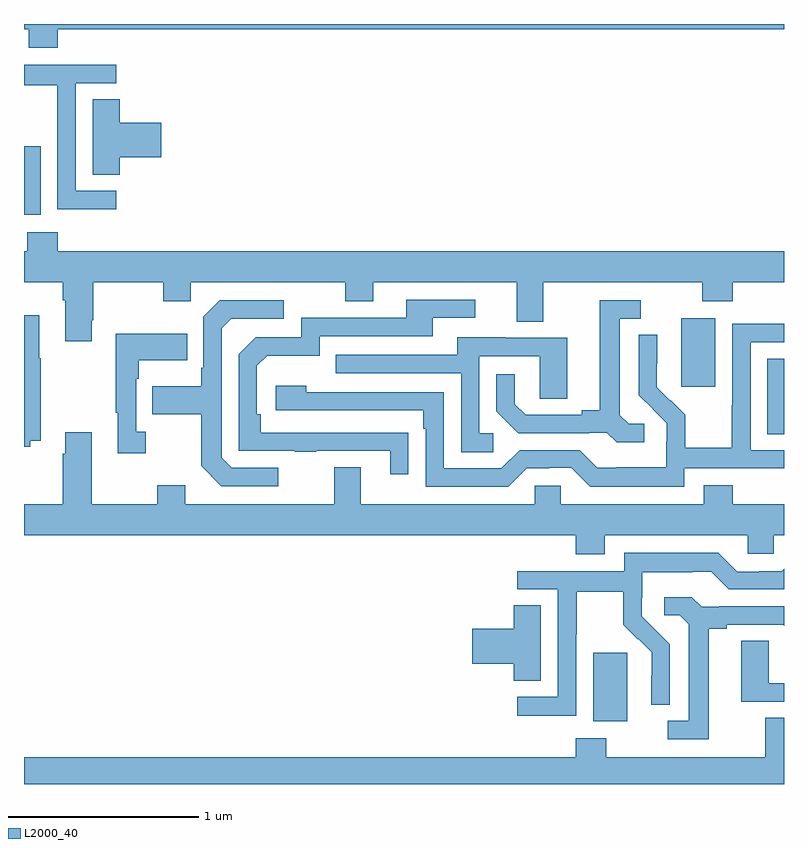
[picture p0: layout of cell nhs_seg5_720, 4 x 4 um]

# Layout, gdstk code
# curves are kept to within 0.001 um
import gdstk
lib = gdstk.Library(unit=1e-6, precision=1e-09)
def R(c, l, rs):  # rectangles x0, y0, x1, y1
    for r in rs: c.add(gdstk.rectangle(r[:2], r[2:], *l))
def P(c, l, *ps):  # polygons
    for p in ps: c.add(gdstk.Polygon(p, *l))
L2000_40 = (2000, 40)

nhs_seg5_720 = lib.new_cell('nhs_seg5_720')
R(nhs_seg5_720, L2000_40, [(159.995,841.13,160.174,841.491), (160.913,842.641,161,843.038), (160.46,842.889,160.639,843.25), (157,843.794,157.087,844.155)])
P(nhs_seg5_720, L2000_40, [(157.178,844.772),(161,844.772),(161,844.799),(157,844.799),(157,844.772),(157.025,844.772),(157.025,844.673),(157.178,844.673)],
  [(157.486,843.921),(157.272,843.921),(157.272,844.488),(157.486,844.488),(157.486,844.584),(157,844.584),(157,844.476),(157.174,844.476),(157.174,844.252),(157.176,844.252),(157.176,843.823),(157.486,843.823)],
  [(157.505,844.097),(157.723,844.097),(157.723,844.28),(157.505,844.28),(157.505,844.403),(157.361,844.403),(157.361,844.006),(157.505,844.006)],
  [(157.357,843.241),(157.365,843.241),(157.365,843.44),(157.732,843.44),(157.732,843.341),(157.878,843.341),(157.878,843.44),(158.692,843.44),(158.692,843.341),(158.839,843.341),(158.839,843.44),(159.593,843.44),(159.593,843.232),(159.733,843.232),(159.733,843.44),(160.57,843.44),(160.57,843.341),(160.73,843.341),(160.73,843.44),(161,843.44),(161,843.604),(157.178,843.604),(157.178,843.703),(157.018,843.703),(157.018,843.604),(157,843.604),(157,843.44),(157.205,843.44),(157.205,843.344),(157.217,843.344),(157.217,843.129),(157.357,843.129)],
  [(159.023,842.648),(158.246,842.649),(158.246,842.746),(158.226,842.746),(158.226,843),(158.279,843.053),(158.556,843.053),(158.556,843.156),(159.151,843.156),(159.151,843.252),(159.376,843.252),(159.376,843.348),(159.011,843.348),(159.011,843.252),(158.46,843.252),(158.46,843.15),(158.22,843.15),(158.13,843.06),(158.13,842.553),(158.425,842.553),(158.425,842.548),(158.537,842.548),(158.537,842.553),(158.927,842.553),(158.927,842.43),(159.023,842.43)],
  [(160.264,842.694),(160.182,842.694),(160.135,842.741),(160.135,843.249),(160.246,843.249),(160.246,843.345),(160.031,843.345),(160.031,842.765),(159.935,842.765),(159.935,842.742),(159.64,842.742),(159.583,842.799),(159.583,842.956),(159.486,842.956),(159.486,842.762),(159.602,842.646),(159.974,842.646),(159.974,842.649),(160.068,842.649),(160.12,842.597),(160.264,842.597)],
  [(158.338,842.463),(158.094,842.463),(158.04,842.517),(158.04,843.198),(158.091,843.249),(158.368,843.249),(158.368,843.345),(158.031,843.345),(157.944,843.258),(157.944,842.989),(157.932,842.989),(157.932,842.893),(157.675,842.893),(157.675,842.746),(157.932,842.746),(157.932,842.473),(158.037,842.367),(158.338,842.367)],
  [(157.032,842.606),(157.089,842.606),(157.089,843.041),(157.081,843.041),(157.081,843.265),(157,843.265),(157,842.574),(157.032,842.574)],
  [(160.476,842.46),(161,842.46),(161,842.556),(160.824,842.556),(160.824,843.123),(161,843.123),(161,843.222),(160.728,843.222),(160.728,842.792),(160.726,842.792),(160.726,842.569),(160.481,842.569),(160.481,842.743),(160.404,842.82),(160.401,842.817),(160.331,842.888),(160.332,843.164),(160.236,843.164),(160.236,842.846),(160.382,842.698),(160.382,842.601),(160.38,842.601),(160.38,842.467),(160.117,842.467),(160.117,842.463),(160.017,842.463),(159.924,842.556),(159.609,842.556),(159.513,842.46),(159.21,842.46),(159.21,842.862),(158.486,842.862),(158.486,842.896),(158.325,842.896),(158.325,842.766),(159.101,842.766),(159.101,842.669),(159.114,842.669),(159.114,842.364),(159.549,842.364),(159.645,842.46),(159.764,842.46),(159.764,842.463),(159.879,842.463),(159.979,842.363),(160.476,842.363)],
  [(157.642,842.654),(157.59,842.654),(157.59,842.933),(157.603,842.933),(157.603,843.029),(157.859,843.029),(157.859,843.169),(157.482,843.169),(157.482,842.753),(157.493,842.753),(157.493,842.541),(157.642,842.541)],
  [(159.469,842.646),(159.396,842.646),(159.396,843.051),(159.714,843.051),(159.714,842.827),(159.859,842.827),(159.859,843.147),(159.535,843.147),(159.535,843.151),(159.281,843.151),(159.281,843.057),(158.641,843.057),(158.641,842.961),(159.3,842.961),(159.3,842.545),(159.469,842.545)],
  [(160.057,842.108),(160.809,842.108),(160.809,842.01),(160.947,842.01),(160.947,842.108),(161,842.108),(161,842.272),(160.73,842.272),(160.73,842.371),(160.577,842.371),(160.577,842.272),(159.825,842.272),(159.825,842.37),(159.687,842.37),(159.687,842.272),(158.773,842.272),(158.773,842.467),(158.633,842.467),(158.633,842.272),(157.849,842.272),(157.849,842.371),(157.702,842.371),(157.702,842.272),(157.357,842.272),(157.357,842.65),(157.217,842.65),(157.217,842.537),(157.205,842.537),(157.205,842.272),(157,842.272),(157,842.108),(159.905,842.108),(159.905,842.009),(160.057,842.009)],
  [(159.906,841.588),(159.909,841.588),(159.909,841.812),(160.153,841.812),(160.153,841.637),(160.23,841.56),(160.233,841.563),(160.304,841.493),(160.304,841.37),(160.302,841.37),(160.302,841.216),(160.398,841.216),(160.398,841.534),(160.252,841.682),(160.252,841.779),(160.254,841.779),(160.254,841.913),(160.517,841.913),(160.517,841.917),(160.617,841.917),(160.71,841.824),(161,841.824),(161,841.931),(160.989,841.92),(160.871,841.92),(160.871,841.917),(160.755,841.917),(160.655,842.017),(160.158,842.017),(160.158,841.92),(159.597,841.92),(159.597,841.824),(159.81,841.824),(159.81,841.257),(159.597,841.257),(159.597,841.159),(159.906,841.159)],
  [(160.603,841.616),(160.699,841.616),(160.699,841.638),(160.994,841.638),(161,841.632),(161,841.734),(160.66,841.734),(160.66,841.731),(160.566,841.731),(160.514,841.783),(160.371,841.783),(160.371,841.686),(160.452,841.686),(160.499,841.639),(160.499,841.131),(160.389,841.131),(160.389,841.035),(160.603,841.035)],
  [(159.721,841.739),(159.578,841.739),(159.578,841.616),(159.36,841.616),(159.36,841.433),(159.578,841.433),(159.578,841.342),(159.721,841.342)],
  [(161,841.329),(160.92,841.329),(160.92,841.553),(160.775,841.553),(160.775,841.233),(161,841.233)],
  [(161,841.148),(160.901,841.148),(160.901,840.94),(160.065,840.94),(160.065,841.039),(159.905,841.039),(159.905,840.94),(157,840.94),(157,840.799),(161,840.799)])

lib.write_gds('nhs_seg5_720.gds')
